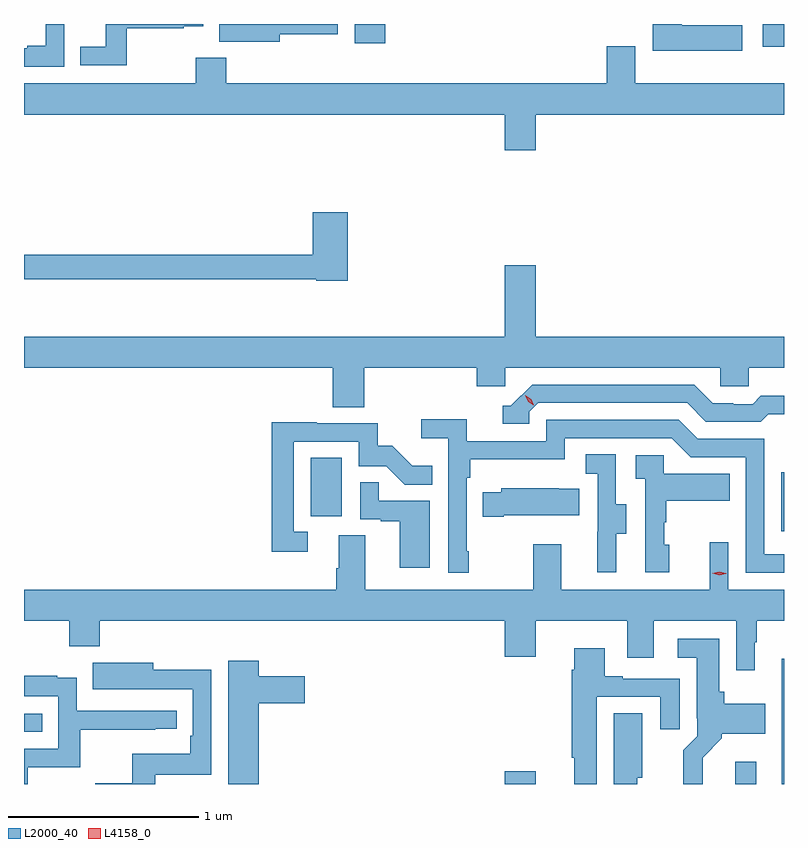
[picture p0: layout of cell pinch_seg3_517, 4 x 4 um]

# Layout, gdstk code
import gdstk
lib = gdstk.Library(unit=1e-6, precision=1e-09)
def R(c, l, rs):  # rectangles x0, y0, x1, y1
    for r in rs: c.add(gdstk.rectangle(r[:2], r[2:], *l))
def P(c, l, *ps):  # polygons
    for p in ps: c.add(gdstk.Polygon(p, *l))
L2000_40 = (2000, 40)
L4158_0 = (4158, 0)

pinch_seg3_517 = lib.new_cell('pinch_seg3_517')
R(pinch_seg3_517, L2000_40, [(956.216,677.413,956.38,677.479), (957.431,677.413,957.541,677.53), (957.675,677.413,957.687,678.073), (953.687,677.688,953.783,677.784), (957.672,678.744,957.687,679.054), (955.196,678.822,955.36,679.129), (955.427,681.312,955.588,681.413)])
P(pinch_seg3_517, L2000_40, [(957.687,681.412),(957.685,681.412),(957.685,681.413),(957.575,681.413),(957.575,681.294),(957.687,681.294)],
  [(957.466,681.406),(957.148,681.406),(957.148,681.413),(956.996,681.413),(956.996,681.272),(957.466,681.272)],
  [(954.229,681.39),(954.527,681.39),(954.527,681.401),(954.63,681.401),(954.63,681.413),(954.118,681.413),(954.118,681.292),(953.983,681.292),(953.983,681.195),(954.229,681.195)],
  [(953.898,681.413),(953.801,681.413),(953.801,681.298),(953.705,681.298),(953.705,681.285),(953.687,681.285),(953.687,681.189),(953.898,681.189)],
  [(955.033,681.358),(955.338,681.358),(955.338,681.413),(954.715,681.413),(954.715,681.32),(955.033,681.32)],
  [(956.38,680.936),(957.687,680.936),(957.687,681.1),(956.905,681.1),(956.905,681.295),(956.753,681.295),(956.753,681.1),(954.752,681.1),(954.752,681.235),(954.592,681.235),(954.592,681.1),(953.687,681.1),(953.687,680.936),(956.216,680.936),(956.216,680.748),(956.38,680.748)],
  [(955.391,680.422),(955.208,680.422),(955.208,680.198),(953.687,680.198),(953.687,680.07),(955.224,680.07),(955.224,680.062),(955.391,680.062)],
  [(956.216,679.768),(953.687,679.768),(953.687,679.604),(955.313,679.604),(955.313,679.396),(955.478,679.396),(955.478,679.604),(956.069,679.604),(956.069,679.506),(956.22,679.506),(956.22,679.604),(957.351,679.604),(957.351,679.506),(957.501,679.506),(957.501,679.604),(957.687,679.604),(957.687,679.768),(956.38,679.768),(956.38,680.143),(956.216,680.143)],
  [(956.346,679.371),(956.394,679.419),(957.177,679.419),(957.276,679.32),(957.565,679.32),(957.604,679.359),(957.687,679.359),(957.687,679.456),(957.565,679.456),(957.523,679.413),(957.42,679.413),(957.42,679.416),(957.313,679.416),(957.214,679.515),(956.361,679.515),(956.25,679.404),(956.207,679.404),(956.207,679.308),(956.346,679.308)],
  [(956.029,678.637),(956.016,678.637),(956.016,679.025),(956.036,679.025),(956.036,679.121),(956.532,679.121),(956.532,679.233),(957.096,679.233),(957.195,679.134),(957.486,679.134),(957.486,678.525),(957.687,678.525),(957.687,678.621),(957.582,678.621),(957.582,679.23),(957.232,679.23),(957.133,679.329),(956.436,679.329),(956.436,679.218),(956.018,679.218),(956.018,679.334),(955.779,679.334),(955.779,679.232),(955.92,679.232),(955.92,678.525),(956.029,678.525)],
  [(955.18,678.741),(955.107,678.741),(955.107,679.215),(955.449,679.215),(955.449,679.086),(955.593,679.086),(955.691,678.988),(955.835,678.988),(955.835,679.087),(955.731,679.087),(955.624,679.194),(955.548,679.194),(955.548,679.311),(955.229,679.311),(955.229,679.316),(954.991,679.316),(954.991,678.636),(955.18,678.636)],
  [(956.803,678.73),(956.857,678.73),(956.857,678.885),(956.802,678.885),(956.802,679.148),(956.643,679.148),(956.643,679.045),(956.706,679.045),(956.706,678.741),(956.705,678.741),(956.705,678.528),(956.803,678.528)],
  [(957.082,678.672),(957.057,678.672),(957.057,678.791),(957.067,678.791),(957.067,678.905),(957.401,678.905),(957.401,679.045),(957.054,679.045),(957.054,679.143),(956.907,679.143),(956.907,679.019),(956.958,679.019),(956.958,678.528),(957.082,678.528)],
  [(955.822,678.903),(955.553,678.903),(955.553,679.001),(955.458,679.001),(955.458,678.807),(955.565,678.807),(955.565,678.795),(955.664,678.795),(955.664,678.552),(955.822,678.552)],
  [(956.212,678.827),(956.609,678.827),(956.609,678.967),(956.501,678.967),(956.501,678.97),(956.199,678.97),(956.199,678.949),(956.101,678.949),(956.101,678.82),(956.212,678.82)],
  [(957.532,678.16),(957.544,678.16),(957.544,678.272),(957.687,678.272),(957.687,678.436),(957.393,678.436),(957.393,678.685),(957.296,678.685),(957.296,678.436),(956.515,678.436),(956.515,678.676),(956.368,678.676),(956.368,678.436),(955.483,678.436),(955.483,678.722),(955.343,678.722),(955.343,678.548),(955.331,678.548),(955.331,678.436),(953.687,678.436),(953.687,678.272),(953.926,678.272),(953.926,678.137),(954.086,678.137),(954.086,678.272),(956.216,678.272),(956.216,678.084),(956.38,678.084),(956.38,678.272),(956.861,678.272),(956.861,678.078),(957.001,678.078),(957.001,678.272),(957.435,678.272),(957.435,678.012),(957.532,678.012)],
  [(957.259,677.552),(957.36,677.654),(957.36,677.678),(957.589,677.678),(957.589,677.836),(957.372,677.836),(957.372,677.898),(957.346,677.898),(957.346,678.178),(957.129,678.178),(957.129,678.077),(957.227,678.077),(957.227,677.758),(957.231,677.758),(957.231,677.664),(957.157,677.59),(957.157,677.413),(957.259,677.413)],
  [(956.701,677.871),(957.035,677.871),(957.035,677.7),(957.139,677.7),(957.139,677.967),(956.839,677.967),(956.839,677.98),(956.743,677.98),(956.743,678.127),(956.582,678.127),(956.582,678.014),(956.57,678.014),(956.57,677.552),(956.582,677.552),(956.582,677.413),(956.701,677.413)],
  [(954.922,677.837),(955.165,677.837),(955.165,677.979),(954.922,677.979),(954.922,678.061),(954.761,678.061),(954.761,677.413),(954.922,677.413)],
  [(954.379,677.463),(954.672,677.463),(954.672,678.014),(954.367,678.014),(954.367,678.052),(954.049,678.052),(954.049,677.912),(954.263,677.912),(954.263,677.913),(954.576,677.913),(954.576,677.668),(954.563,677.668),(954.563,677.572),(954.258,677.572),(954.258,677.417),(954.061,677.417),(954.061,677.413),(954.379,677.413)],
  [(953.707,677.502),(953.984,677.502),(953.984,677.698),(954.377,677.698),(954.377,677.703),(954.49,677.703),(954.49,677.799),(953.964,677.799),(953.964,677.971),(953.861,677.971),(953.861,677.983),(953.687,677.983),(953.687,677.874),(953.868,677.874),(953.868,677.598),(953.687,677.598),(953.687,677.413),(953.707,677.413)],
  [(956.914,677.445),(956.941,677.445),(956.941,677.786),(956.792,677.786),(956.792,677.413),(956.914,677.413)])
P(pinch_seg3_517, L4158_0, [(957.346,678.511),(957.31,678.521),(957.31,678.522),(957.31,678.522),(957.346,678.531),(957.382,678.521),(957.382,678.521),(957.382,678.52)],
  [(956.371,679.406),(956.341,679.426),(956.325,679.459),(956.325,679.459),(956.326,679.459),(956.356,679.439),(956.371,679.407),(956.371,679.406)])

lib.write_gds('pinch_seg3_517.gds')
